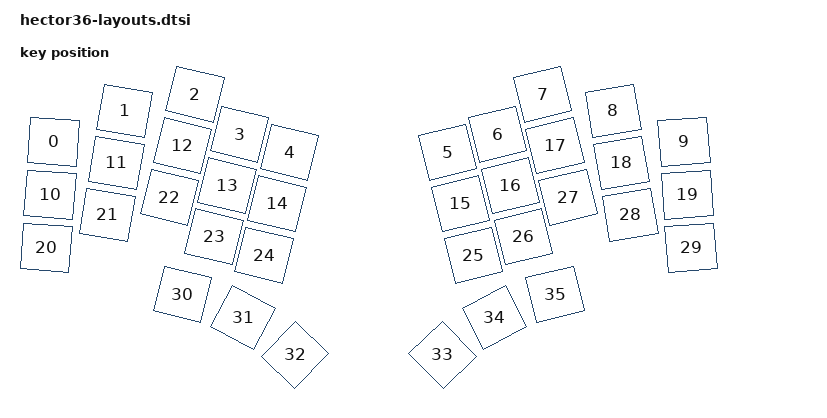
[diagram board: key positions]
#include <physical_layouts.dtsi>

/ {
    default_layout: physical_layout {
        compatible = "zmk,physical-layout";
        display-name = "hector36";
        transform = <&default_transform>;

        keys  //                     w   h    x    y     rot    rx    ry
            = <&key_physical_attrs 106 100   18  106     400    71   156>
            , <&key_physical_attrs 106 100  160   44     950   213    94>
            , <&key_physical_attrs 106 100  301   11    1400   354    61>
            , <&key_physical_attrs 106 100  390   91    1400   443   141>
            , <&key_physical_attrs 106 100  490  127    1400   543   177>
            , <&key_physical_attrs 106 100  806  127 (-1400)   859   177>
            , <&key_physical_attrs 106 100  906   91 (-1400)   959   141>
            , <&key_physical_attrs 106 100  996   11 (-1400)  1049    61>
            , <&key_physical_attrs 106 100 1137   44  (-950)  1190    94>
            , <&key_physical_attrs 106 100 1279  106  (-400)  1332   156>
            , <&key_physical_attrs 106 100   11  212     400    64   262>
            , <&key_physical_attrs 106 100  143  148     950   196   198>
            , <&key_physical_attrs 106 100  276  114    1400   329   164>
            , <&key_physical_attrs 106 100  365  194    1400   418   244>
            , <&key_physical_attrs 106 100  465  230    1400   518   280>
            , <&key_physical_attrs 106 100  832  230 (-1400)   885   280>
            , <&key_physical_attrs 106 100  932  194 (-1400)   985   244>
            , <&key_physical_attrs 106 100 1021  114 (-1400)  1074   164>
            , <&key_physical_attrs 106 100 1154  148  (-950)  1207   198>
            , <&key_physical_attrs 106 100 1286  212  (-400)  1339   262>
            , <&key_physical_attrs 106 100    3  318     400    56   368>
            , <&key_physical_attrs 106 100  125  252     950   178   302>
            , <&key_physical_attrs 106 100  250  217    1400   303   267>
            , <&key_physical_attrs 106 100  339  296    1400   392   346>
            , <&key_physical_attrs 106 100  439  333    1400   492   383>
            , <&key_physical_attrs 106 100  858  333 (-1400)   911   383>
            , <&key_physical_attrs 106 100  958  296 (-1400)  1011   346>
            , <&key_physical_attrs 106 100 1047  217 (-1400)  1100   267>
            , <&key_physical_attrs 106 100 1171  252  (-950)  1224   302>
            , <&key_physical_attrs 106 100 1293  318  (-400)  1346   368>
            , <&key_physical_attrs 106 100  276  411    1400   329   461>
            , <&key_physical_attrs 106 100  397  458    2800   450   508>
            , <&key_physical_attrs 106 100  501  532 (-4600)   554   582>
            , <&key_physical_attrs 106 100  796  532    4600   849   582>
            , <&key_physical_attrs 106 100  900  458 (-2800)   953   508>
            , <&key_physical_attrs 106 100 1021  411 (-1400)  1074   461>
            ;
    };

    hector36_position_map {
        compatible = "zmk,physical-layout-position-map";
        complete;
        full: full {
            physical-layout = <&default_layout>;
            positions
                = < 0  1  2  3  4       5  6  7  8  9>
                , <10 11 12 13 14      15 16 17 18 19>
                , <20 21 22 23 24      25 26 27 28 29>
                , <      30 31 32      33 34 35      >
                ;
        };
    };
};
